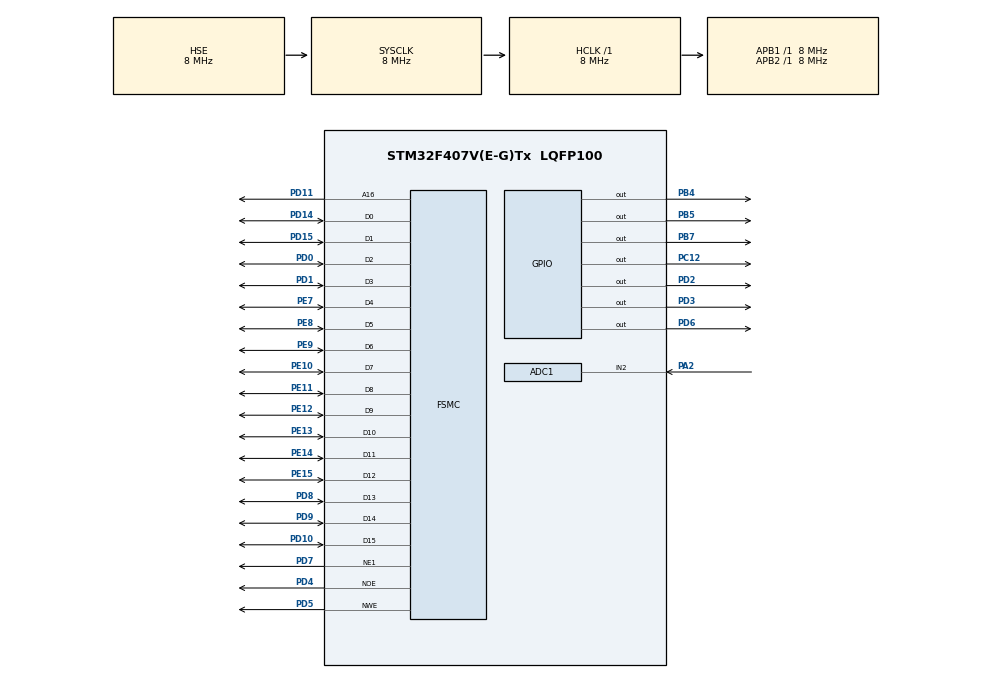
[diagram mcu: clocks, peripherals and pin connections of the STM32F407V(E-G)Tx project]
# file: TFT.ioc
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ADC1.Channel-1\#ChannelRegularConversion=ADC_CHANNEL_2
ADC1.ContinuousConvMode=DISABLE
ADC1.DMAContinuousRequests=ENABLE
ADC1.ExternalTrigConv=ADC_SOFTWARE_START
ADC1.NbrOfConversionFlag=1
ADC1.Rank-1\#ChannelRegularConversion=1
ADC1.SamplingTime-1\#ChannelRegularConversion=ADC_SAMPLETIME_480CYCLES
ADC1.ScanConvMode=DISABLE
ADC1.master=1
Dma.ADC1.0.Direction=DMA_PERIPH_TO_MEMORY
Dma.ADC1.0.FIFOMode=DMA_FIFOMODE_DISABLE
Dma.ADC1.0.Instance=DMA2_Stream0
Dma.ADC1.0.MemDataAlignment=DMA_MDATAALIGN_HALFWORD
Dma.ADC1.0.MemInc=DMA_MINC_DISABLE
Dma.ADC1.0.Mode=DMA_CIRCULAR
Dma.ADC1.0.PeriphDataAlignment=DMA_PDATAALIGN_HALFWORD
Dma.ADC1.0.PeriphInc=DMA_PINC_DISABLE
Dma.ADC1.0.Priority=DMA_PRIORITY_LOW
Dma.Request0=ADC1
FSMC.AddressSetupTime1=1
FSMC.BusTurnAroundDuration1=0
FSMC.DataSetupTime1=2
Mcu.Family=STM32F4
Mcu.Name=STM32F407V(E-G)Tx
Mcu.Package=LQFP100
NVIC.DMA2_Stream0_IRQn=true\:8\:0\:true\:false\:true\:false\:true\:true
NVIC.PriorityGroup=NVIC_PRIORITYGROUP_4
PA2.Signal=ADCx_IN2
PB4.Signal=GPIO_Output
PB5.Signal=GPIO_Output
PB7.Signal=GPIO_Output
PC12.PinState=GPIO_PIN_SET
PC12.Signal=GPIO_Output
PD0.Mode=16b-d1
PD0.Signal=FSMC_D2
PD1.Mode=16b-d1
PD1.Signal=FSMC_D3
PD10.Mode=16b-d1
PD10.Signal=FSMC_D15
PD11.Mode=A16_1
PD11.Signal=FSMC_A16
PD14.Mode=16b-d1
PD14.Signal=FSMC_D0
PD15.Mode=16b-d1
PD15.Signal=FSMC_D1
PD2.Signal=GPIO_Output
PD3.Signal=GPIO_Output
PD4.Mode=Lcd1
PD4.Signal=FSMC_NOE
PD5.Mode=Lcd1
PD5.Signal=FSMC_NWE
PD6.Signal=GPIO_Output
PD7.Mode=NorPsramChipSelect1_1
PD7.Signal=FSMC_NE1
PD8.Mode=16b-d1
PD8.Signal=FSMC_D13
PD9.Mode=16b-d1
PD9.Signal=FSMC_D14
PE10.Mode=16b-d1
PE10.Signal=FSMC_D7
PE11.Mode=16b-d1
PE11.Signal=FSMC_D8
PE12.Mode=16b-d1
PE12.Signal=FSMC_D9
PE13.Mode=16b-d1
PE13.Signal=FSMC_D10
PE14.Mode=16b-d1
PE14.Signal=FSMC_D11
PE15.Mode=16b-d1
PE15.Signal=FSMC_D12
PE7.Mode=16b-d1
PE7.Signal=FSMC_D4
PE8.Mode=16b-d1
PE8.Signal=FSMC_D5
PE9.Mode=16b-d1
PE9.Signal=FSMC_D6
PH0-OSC_IN.Mode=HSE-External-Oscillator
PH0-OSC_IN.Signal=RCC_OSC_IN
PH1-OSC_OUT.Mode=HSE-External-Oscillator
PH1-OSC_OUT.Signal=RCC_OSC_OUT
ProjectManager.HeapSize=0x000
ProjectManager.StackSize=0x200
ProjectManager.TargetToolchain=STM32CubeIDE
RCC.48MHZClocksFreq_Value=50000000
RCC.AHBFreq_Value=8000000
RCC.APB1Freq_Value=8000000
RCC.APB1TimFreq_Value=8000000
RCC.APB2Freq_Value=8000000
RCC.APB2TimFreq_Value=8000000
RCC.CortexFreq_Value=8000000
RCC.HCLKFreq_Value=8000000
RCC.HSE_VALUE=8000000
RCC.HSI_VALUE=16000000
RCC.LSE_VALUE=32768
RCC.PLLM=4
RCC.PLLN=100
RCC.PLLP=RCC_PLLP_DIV4
RCC.PLLSourceVirtual=RCC_PLLSOURCE_HSE
RCC.SYSCLKFreq_VALUE=8000000
RCC.SYSCLKSource=RCC_SYSCLKSOURCE_HSE
RCC.VCOOutputFreq_Value=200000000
SH.ADCx_IN2.0=ADC1_IN2,IN2
board=custom

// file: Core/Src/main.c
/* USER CODE BEGIN Header */
/**
  ******************************************************************************
  * @file           : main.c
  * @brief          : Main program body
  ******************************************************************************
  * @attention
  *
  * Copyright (c) 2023 STMicroelectronics.
  * All rights reserved.
  *
  * This software is licensed under terms that can be found in the LICENSE file
  * in the root directory of this software component.
  * If no LICENSE file comes with this software, it is provided AS-IS.
  *
  ******************************************************************************
  */
/* USER CODE END Header */
#include "main.h"
#include "image.h"

ADC_HandleTypeDef hadc1;
DMA_HandleTypeDef hdma_adc1;

SRAM_HandleTypeDef hsram1;

/* USER CODE BEGIN PV */

uint16_t ID=0;

volatile uint16_t * LCD_MEM_DATA = (uint16_t*)LCD_DATA;
volatile uint16_t * LCD_MEM_ADDRESS = (uint16_t*)LCD_ADDRESS;

/* USER CODE END PV */

void SystemClock_Config(void);
static void MX_GPIO_Init(void);
static void MX_DMA_Init(void);
static void MX_ADC1_Init(void);
static void MX_FSMC_Init(void);

int main(void)
{

  /* MCU Configuration--------------------------------------------------------*/

  /* Reset of all peripherals, Initializes the Flash interface and the Systick. */
  HAL_Init();

  /* Configure the system clock */
  SystemClock_Config();

  /* Initialize all configured peripherals */
  MX_GPIO_Init();
  MX_DMA_Init();
  MX_ADC1_Init();
  MX_FSMC_Init();
  /* USER CODE BEGIN 2 */

	HAL_GPIO_WritePin(GPIOC, GPIO_PIN_12, GPIO_PIN_RESET);
	HAL_Delay(100);
	HAL_GPIO_WritePin(GPIOC, GPIO_PIN_12, GPIO_PIN_SET);
	HAL_Delay(100);

	//
	//GETTING DISPLAY ID
	//
	*LCD_MEM_ADDRESS = 0x00;
	*LCD_MEM_DATA;
	ID = *LCD_MEM_DATA;
	//
	//
	//

	LCD_INIT();
  /* USER CODE END 2 */

  /* Infinite loop */
  /* USER CODE BEGIN WHILE */
  while (1)
  {
	  HAL_Delay(5000);
	  LCD_Block_Write(0, 239, 0, 399);
	  for(int i=0; i<400; i++)
	  	  {
	  		  for(int j=0; j<240; j++)
	  		  {
	  			  LCD_Write_Data(RGB(255,0,0));
	  		  }
	  	  }
	  HAL_Delay(5000);
	  LCD_Block_Write(0, 239, 0, 399);
	  for(int i=0; i<400; i++)
	  	  {
	  		  for(int j=0; j<240; j++)
	  		  {
	  			  LCD_Write_Data(RGB(0,255,0));
	  		  }
	  	  }
	  HAL_Delay(5000);
	  LCD_Block_Write(0, 239, 0, 399);
	  for(int i=0; i<400; i++)
	  	  {
	  		  for(int j=0; j<240; j++)
	  		  {
	  			  LCD_Write_Data(RGB(0,0,255));
	  		  }
	  	  }
	  HAL_Delay(5000);
	  LCD_Block_Write(0,239,0,399);
	  for(int i=0; i<400; i++)
	  {
		  for(int j=0; j<240; j++)
		  {
			  LCD_Write_Data(RGB(i*255/400,i*255/400,i*255/400));
		  }
	  }
	  HAL_Delay(5000);
	  	  LCD_Block_Write(0,239,0,399);
	  	  for(int i=0; i<400; i++)
	  	  {
	  		  for(int j=0; j<240; j++)
	  		  {
	  			  LCD_Write_Data(kittenBMP[i*240+j]);
	  		  }
	  	  }
    /* USER CODE END WHILE */

  }
}

void SystemClock_Config(void)
{
  RCC_OscInitTypeDef RCC_OscInitStruct = {0};
  RCC_ClkInitTypeDef RCC_ClkInitStruct = {0};

  /** Configure the main internal regulator output voltage
  */
  __HAL_RCC_PWR_CLK_ENABLE();
  __HAL_PWR_VOLTAGESCALING_CONFIG(PWR_REGULATOR_VOLTAGE_SCALE1);

  /** Initializes the RCC Oscillators according to the specified parameters
  * in the RCC_OscInitTypeDef structure.
  */
  RCC_OscInitStruct.OscillatorType = RCC_OSCILLATORTYPE_HSE;
  RCC_OscInitStruct.HSEState = RCC_HSE_ON;
  RCC_OscInitStruct.PLL.PLLState = RCC_PLL_NONE;
  if (HAL_RCC_OscConfig(&RCC_OscInitStruct) != HAL_OK)
  {
    Error_Handler();
  }

  /** Initializes the CPU, AHB and APB buses clocks
  */
  RCC_ClkInitStruct.ClockType = RCC_CLOCKTYPE_HCLK|RCC_CLOCKTYPE_SYSCLK
                              |RCC_CLOCKTYPE_PCLK1|RCC_CLOCKTYPE_PCLK2;
  RCC_ClkInitStruct.SYSCLKSource = RCC_SYSCLKSOURCE_HSE;
  RCC_ClkInitStruct.AHBCLKDivider = RCC_SYSCLK_DIV1;
  RCC_ClkInitStruct.APB1CLKDivider = RCC_HCLK_DIV1;
  RCC_ClkInitStruct.APB2CLKDivider = RCC_HCLK_DIV1;

  if (HAL_RCC_ClockConfig(&RCC_ClkInitStruct, FLASH_LATENCY_0) != HAL_OK)
  {
    Error_Handler();
  }
}

static void MX_ADC1_Init(void)
{

  ADC_ChannelConfTypeDef sConfig = {0};

  /** Configure the global features of the ADC (Clock, Resolution, Data Alignment and number of conversion)
  */
  hadc1.Instance = ADC1;
  hadc1.Init.ClockPrescaler = ADC_CLOCK_SYNC_PCLK_DIV2;
  hadc1.Init.Resolution = ADC_RESOLUTION_12B;
  hadc1.Init.ScanConvMode = DISABLE;
  hadc1.Init.ContinuousConvMode = DISABLE;
  hadc1.Init.DiscontinuousConvMode = DISABLE;
  hadc1.Init.ExternalTrigConvEdge = ADC_EXTERNALTRIGCONVEDGE_NONE;
  hadc1.Init.ExternalTrigConv = ADC_SOFTWARE_START;
  hadc1.Init.DataAlign = ADC_DATAALIGN_RIGHT;
  hadc1.Init.NbrOfConversion = 1;
  hadc1.Init.DMAContinuousRequests = ENABLE;
  hadc1.Init.EOCSelection = ADC_EOC_SINGLE_CONV;
  if (HAL_ADC_Init(&hadc1) != HAL_OK)
  {
    Error_Handler();
  }

  /** Configure for the selected ADC regular channel its corresponding rank in the sequencer and its sample time.
  */
  sConfig.Channel = ADC_CHANNEL_2;
  sConfig.Rank = 1;
  sConfig.SamplingTime = ADC_SAMPLETIME_480CYCLES;
  if (HAL_ADC_ConfigChannel(&hadc1, &sConfig) != HAL_OK)
  {
    Error_Handler();
  }

}

static void MX_DMA_Init(void)
{

  /* DMA controller clock enable */
  __HAL_RCC_DMA2_CLK_ENABLE();

  /* DMA interrupt init */
  /* DMA2_Stream0_IRQn interrupt configuration */
  HAL_NVIC_SetPriority(DMA2_Stream0_IRQn, 8, 0);
  HAL_NVIC_EnableIRQ(DMA2_Stream0_IRQn);

}

static void MX_GPIO_Init(void)
{
  GPIO_InitTypeDef GPIO_InitStruct = {0};

  /* GPIO Ports Clock Enable */
  __HAL_RCC_GPIOH_CLK_ENABLE();
  __HAL_RCC_GPIOA_CLK_ENABLE();
  __HAL_RCC_GPIOE_CLK_ENABLE();
  __HAL_RCC_GPIOD_CLK_ENABLE();
  __HAL_RCC_GPIOC_CLK_ENABLE();
  __HAL_RCC_GPIOB_CLK_ENABLE();

  /*Configure GPIO pin Output Level */
  HAL_GPIO_WritePin(GPIOC, GPIO_PIN_12, GPIO_PIN_SET);

  /*Configure GPIO pin Output Level */
  HAL_GPIO_WritePin(GPIOD, GPIO_PIN_2|GPIO_PIN_3|GPIO_PIN_6, GPIO_PIN_RESET);

  /*Configure GPIO pin Output Level */
  HAL_GPIO_WritePin(GPIOB, GPIO_PIN_4|GPIO_PIN_5|GPIO_PIN_7, GPIO_PIN_RESET);

  /*Configure GPIO pin : PC12 */
  GPIO_InitStruct.Pin = GPIO_PIN_12;
  GPIO_InitStruct.Mode = GPIO_MODE_OUTPUT_PP;
  GPIO_InitStruct.Pull = GPIO_NOPULL;
  GPIO_InitStruct.Speed = GPIO_SPEED_FREQ_LOW;
  HAL_GPIO_Init(GPIOC, &GPIO_InitStruct);

  /*Configure GPIO pins : PD2 PD3 PD6 */
  GPIO_InitStruct.Pin = GPIO_PIN_2|GPIO_PIN_3|GPIO_PIN_6;
  GPIO_InitStruct.Mode = GPIO_MODE_OUTPUT_PP;
  GPIO_InitStruct.Pull = GPIO_NOPULL;
  GPIO_InitStruct.Speed = GPIO_SPEED_FREQ_LOW;
  HAL_GPIO_Init(GPIOD, &GPIO_InitStruct);

  /*Configure GPIO pins : PB4 PB5 PB7 */
  GPIO_InitStruct.Pin = GPIO_PIN_4|GPIO_PIN_5|GPIO_PIN_7;
  GPIO_InitStruct.Mode = GPIO_MODE_OUTPUT_PP;
  GPIO_InitStruct.Pull = GPIO_NOPULL;
  GPIO_InitStruct.Speed = GPIO_SPEED_FREQ_LOW;
  HAL_GPIO_Init(GPIOB, &GPIO_InitStruct);

}

/* FSMC initialization function */
static void MX_FSMC_Init(void)
{

  FSMC_NORSRAM_TimingTypeDef Timing = {0};

  /** Perform the SRAM1 memory initialization sequence
  */
  hsram1.Instance = FSMC_NORSRAM_DEVICE;
  hsram1.Extended = FSMC_NORSRAM_EXTENDED_DEVICE;
  /* hsram1.Init */
  hsram1.Init.NSBank = FSMC_NORSRAM_BANK1;
  hsram1.Init.DataAddressMux = FSMC_DATA_ADDRESS_MUX_DISABLE;
  hsram1.Init.MemoryType = FSMC_MEMORY_TYPE_SRAM;
  hsram1.Init.MemoryDataWidth = FSMC_NORSRAM_MEM_BUS_WIDTH_16;
  hsram1.Init.BurstAccessMode = FSMC_BURST_ACCESS_MODE_DISABLE;
  hsram1.Init.WaitSignalPolarity = FSMC_WAIT_SIGNAL_POLARITY_LOW;
  hsram1.Init.WrapMode = FSMC_WRAP_MODE_DISABLE;
  hsram1.Init.WaitSignalActive = FSMC_WAIT_TIMING_BEFORE_WS;
  hsram1.Init.WriteOperation = FSMC_WRITE_OPERATION_ENABLE;
  hsram1.Init.WaitSignal = FSMC_WAIT_SIGNAL_DISABLE;
  hsram1.Init.ExtendedMode = FSMC_EXTENDED_MODE_DISABLE;
  hsram1.Init.AsynchronousWait = FSMC_ASYNCHRONOUS_WAIT_DISABLE;
  hsram1.Init.WriteBurst = FSMC_WRITE_BURST_DISABLE;
  hsram1.Init.PageSize = FSMC_PAGE_SIZE_NONE;
  /* Timing */
  Timing.AddressSetupTime = 1;
  Timing.AddressHoldTime = 15;
  Timing.DataSetupTime = 2;
  Timing.BusTurnAroundDuration = 0;
  Timing.CLKDivision = 16;
  Timing.DataLatency = 17;
  Timing.AccessMode = FSMC_ACCESS_MODE_A;
  /* ExtTiming */

  if (HAL_SRAM_Init(&hsram1, &Timing, NULL) != HAL_OK)
  {
    Error_Handler( );
  }

}

/* USER CODE BEGIN 4 */
void LCD_Write(uint16_t address, uint16_t data)
{
	*LCD_MEM_ADDRESS = address;
	*LCD_MEM_DATA = data;
}

uint16_t LCD_Read(uint16_t address)
{
	uint16_t data=0x0000;

	*LCD_MEM_ADDRESS = address;
	*LCD_MEM_DATA;
	data = *LCD_MEM_DATA;

	return data;
}

void LCD_Write_Comm(uint16_t command)
{
	*LCD_MEM_ADDRESS = command;
}

void LCD_Write_Data(uint16_t data)
{
	*LCD_MEM_DATA = data;
}

void LCD_INIT(void)
{
	HAL_GPIO_WritePin(GPIOC, GPIO_PIN_12, GPIO_PIN_RESET);
	HAL_Delay(20);
	HAL_GPIO_WritePin(GPIOC, GPIO_PIN_12, GPIO_PIN_SET);
	HAL_Delay(20);

	     //HX8352B FOR CMO3.2(Pd032MNML-0403)

	    //V03----2011.6.7/PengWu
		//1ЎўРЮёД E2-EF �?ДґжЖч
		//2Ўў�?хµНVCOMHµзС№Ј¬�?хµ­Й«°Я

		LCD_Write(0xE2, 0x15);      //VREFsetting
		LCD_Write(0xE5, 0x18);
		LCD_Write(0xE7, 0x18);
		LCD_Write(0xE8, 0x40);
		LCD_Write(0xEC, 0x09);
		LCD_Write(0xED, 0x06);
		LCD_Write(0xEE, 0x20);
		LCD_Write(0xEF, 0x50);
		LCD_Write(0x29, 0x01);
		LCD_Write(0x2B, 0x03);
		LCD_Write(0x2E, 0x85);

		// Power on Setting
		LCD_Write(0x23, 0x75);     //0x79
		LCD_Write(0x24, 0x50);  // 0x50  �?УЙо¶Ф±�?¶�?
		LCD_Write(0x25, 0x71);
		LCD_Write(0x1B, 0x1E);    //VREG1 = 4.5V
		LCD_Write(0x01, 0x00);
		LCD_Write(0x1C, 0x04);

		// Power on sequence
		LCD_Write(0x18, 0xdd);  //
		LCD_Write(0x19, 0x01);
		HAL_Delay(5);
		LCD_Write(0x1F, 0x8C);
		LCD_Write(0x1F, 0x84);
		HAL_Delay(10);
		LCD_Write(0x1F, 0x94);
		HAL_Delay(10);
		LCD_Write(0x1F, 0xD4);
		HAL_Delay(5);

		// Gamma Setting
		LCD_Write(0x40, 0x08);
		LCD_Write(0x41, 0x31);
		LCD_Write(0x42, 0x2F);
		LCD_Write(0x43, 0x3E);
		LCD_Write(0x44, 0x3D);
		LCD_Write(0x45, 0x3F);
		LCD_Write(0x46, 0x2F);
		LCD_Write(0x47, 0x79);
		LCD_Write(0x48, 0x08);
		LCD_Write(0x49, 0x06);
		LCD_Write(0x4A, 0x08);
		LCD_Write(0x4B, 0x0E);
		LCD_Write(0x4C, 0x17);

		LCD_Write(0x50, 0x00);
		LCD_Write(0x51, 0x02);
		LCD_Write(0x52, 0x01);
		LCD_Write(0x53, 0x10);
		LCD_Write(0x54, 0x0E);
		LCD_Write(0x55, 0x37);
		LCD_Write(0x56, 0x06);
		LCD_Write(0x57, 0x50);
		LCD_Write(0x58, 0x08);
		LCD_Write(0x59, 0x11);
		LCD_Write(0x5A, 0x17);
		LCD_Write(0x5B, 0x19);
		LCD_Write(0x5C, 0x17);
		LCD_Write(0x5D, 0xFF);

		// Display ON Setting
		LCD_Write(0x60, 0x00); //FMARK 18ЈєOPEN
		LCD_Write(0x16,0x0b);
		LCD_Write(0x17, 0x05);
		LCD_Write(0x36, 0x00);
		LCD_Write(0x28, 0x20);
		HAL_Delay(40);
		LCD_Write(0x28, 0x38);
		HAL_Delay(40);                                  // Waiting 2 frames at least
		LCD_Write(0x28, 0x3C);
}

void LCD_Block_Write(uint16_t Xstart, uint16_t Xend, uint16_t Ystart, uint16_t Yend)
{
	LCD_Write_Comm(0x02);	LCD_Write_Data(Xstart >> 8);
	LCD_Write_Comm(0x03);	LCD_Write_Data(Xstart);  //Column Start
	LCD_Write_Comm(0x04);	LCD_Write_Data(Xend >> 8);
	LCD_Write_Comm(0x05);	LCD_Write_Data(Xend);  //Column End

	LCD_Write_Comm(0x06);	LCD_Write_Data(Ystart >> 8);
	LCD_Write_Comm(0x07);	LCD_Write_Data(Ystart);  //Row Start
	LCD_Write_Comm(0x08);	LCD_Write_Data(Yend >> 8);
	LCD_Write_Comm(0x09);	LCD_Write_Data(Yend);  //Row End

	LCD_Write_Comm(0x80);	LCD_Write_Data(Xstart >> 8);
	LCD_Write_Comm(0x81);	LCD_Write_Data(Xstart);  //Column Start
	LCD_Write_Comm(0x82);	LCD_Write_Data(Ystart >> 8);
	LCD_Write_Comm(0x83);	LCD_Write_Data(Ystart);  //Row Start

	LCD_Write_Comm(0x22);
}

/* USER CODE END 4 */

void Error_Handler(void)
{
  __disable_irq();
  while (1)
  {
  }
}
